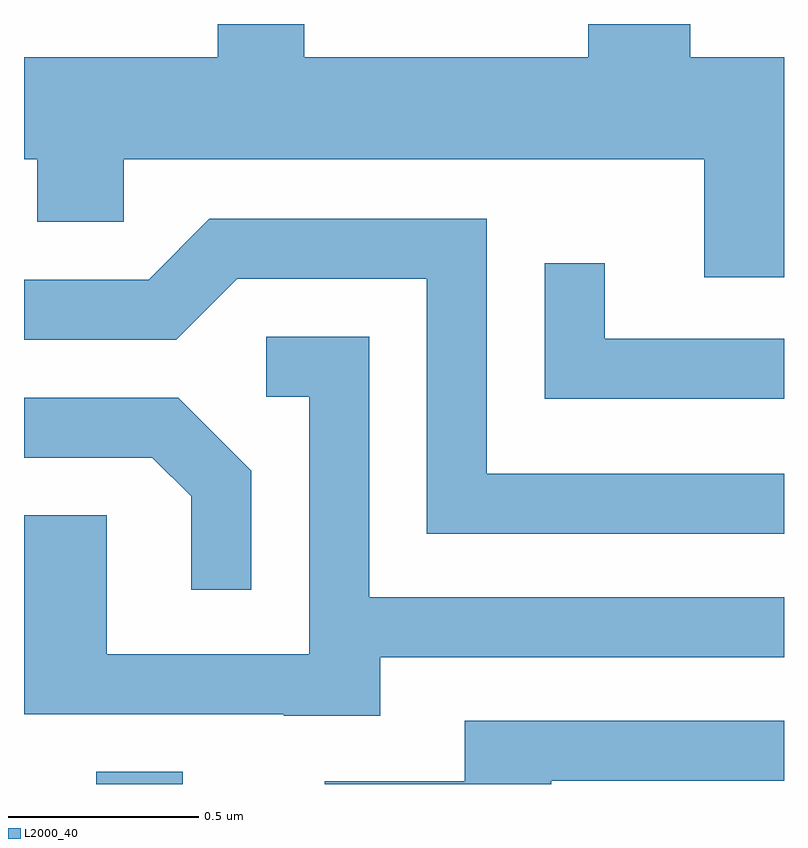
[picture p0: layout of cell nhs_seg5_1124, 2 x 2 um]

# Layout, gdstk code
import gdstk
lib = gdstk.Library(unit=1e-6, precision=1e-09)
def R(c, l, rs):  # rectangles x0, y0, x1, y1
    for r in rs: c.add(gdstk.rectangle(r[:2], r[2:], *l))
def P(c, l, *ps):  # polygons
    for p in ps: c.add(gdstk.Polygon(p, *l))
L2000_40 = (2000, 40)

nhs_seg5_1124 = lib.new_cell('nhs_seg5_1124')
R(nhs_seg5_1124, L2000_40, [(193.801,1424.072,194.029,1424.104)])
P(nhs_seg5_1124, L2000_40, [(195.611,1425.984),(195.364,1425.984),(195.364,1426.072),(195.096,1426.072),(195.096,1425.984),(194.349,1425.984),(194.349,1426.072),(194.121,1426.072),(194.121,1425.984),(193.611,1425.984),(193.611,1425.716),(193.646,1425.716),(193.646,1425.551),(193.874,1425.551),(193.874,1425.716),(195.401,1425.716),(195.401,1425.406),(195.611,1425.406)],
  [(195.611,1424.889),(194.829,1424.889),(194.829,1425.559),(194.099,1425.559),(193.939,1425.399),(193.611,1425.399),(193.611,1425.241),(194.012,1425.241),(194.172,1425.401),(194.671,1425.401),(194.671,1424.731),(195.611,1424.731)],
  [(195.611,1425.244),(195.139,1425.244),(195.139,1425.443),(194.981,1425.443),(194.981,1425.086),(195.611,1425.086)],
  [(194.549,1424.406),(195.611,1424.406),(195.611,1424.564),(194.519,1424.564),(194.519,1425.249),(194.248,1425.249),(194.248,1425.091),(194.361,1425.091),(194.361,1424.414),(193.829,1424.414),(193.829,1424.779),(193.611,1424.779),(193.611,1424.256),(194.295,1424.256),(194.295,1424.251),(194.549,1424.251)],
  [(194.209,1424.897),(194.017,1425.089),(193.611,1425.089),(193.611,1424.931),(193.949,1424.931),(194.051,1424.829),(194.051,1424.583),(194.209,1424.583)],
  [(194.999,1424.081),(195.611,1424.081),(195.611,1424.239),(194.771,1424.239),(194.771,1424.079),(194.403,1424.079),(194.403,1424.072),(194.999,1424.072)])

lib.write_gds('nhs_seg5_1124.gds')
